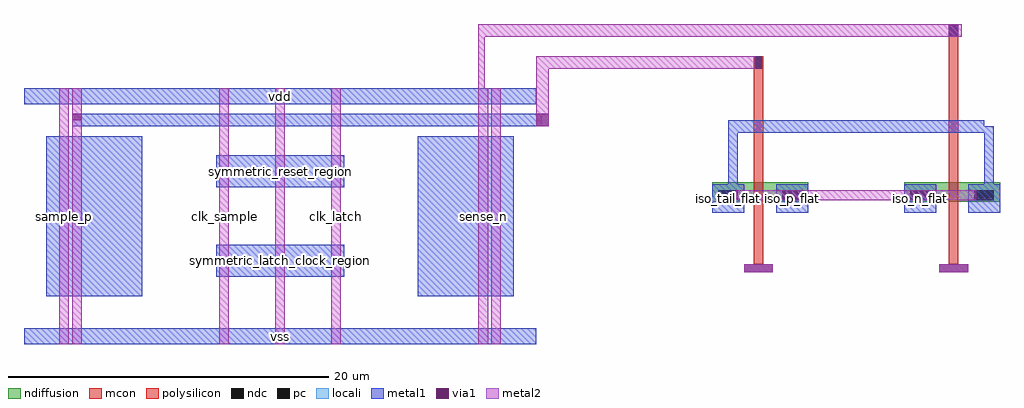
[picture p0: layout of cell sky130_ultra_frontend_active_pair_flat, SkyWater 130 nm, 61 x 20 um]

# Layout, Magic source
magic
tech sky130A
<< ndiffusion >>
rect 4300 890 4900 1010
rect 5500 890 6100 1010
<< polysilicon >>
rect 4560 500 4620 1400
rect 5780 500 5840 1400
rect 4560 900 4620 1800
rect 5780 900 5840 1960
<< ndc >>
rect 4340 900 4460 960
rect 4740 900 4860 960
rect 5540 900 5660 960
rect 5940 900 6060 960
<< mcon >>
rect 4340 900 4460 960
rect 4740 900 4860 960
rect 5540 900 5660 960
rect 5940 900 6060 960
rect 4570 1720 4610 1800
rect 5780 1920 5840 2000
<< locali >>
rect 4570 1720 4610 1800
rect 5780 1920 5840 2000
<< metal1 >>
rect 0 0 3200 100
rect 0 1500 3200 1600
rect 140 300 740 1300
rect 2460 300 3060 1300
rect 1200 980 2000 1180
rect 1200 420 2000 620
rect 4300 820 4500 1000
rect 4700 820 4900 1000
rect 5500 820 5700 1000
rect 5900 820 6100 1000
rect 4400 900 4460 1360
rect 6000 900 6060 1360
rect 4400 1320 6000 1400
rect 300 1400 360 1440
rect 300 1360 3240 1440
rect 4570 1720 4610 1800
rect 5780 1920 5840 2000
<< metal2 >>
rect 220 0 280 1600
rect 300 0 360 1600
rect 1220 0 1280 1600
rect 1570 0 1630 1600
rect 1920 0 1980 1600
rect 2840 0 2900 1600
rect 2920 0 2980 1600
rect 4500 450 4680 500
rect 5720 450 5900 500
rect 4450 900 5950 960
rect 300 1400 360 1440
rect 3200 1360 3280 1720
rect 3200 1720 4570 1800
rect 2840 1400 2880 1960
rect 2840 1920 5780 2000
rect 5780 1920 5860 2000
<< via1 >>
rect 4500 450 4680 500
rect 5720 450 5900 500
rect 300 1400 360 1440
rect 3200 1360 3280 1440
rect 4570 1720 4610 1800
rect 5780 1920 5840 2000
<< pc >>
rect 4570 1720 4610 1800
rect 5780 1920 5840 2000
<< labels >>
rlabel metal1 0 0 3200 100 0 vss
port 1 nsew
rlabel metal1 0 1500 3200 1600 0 vdd
port 2 nsew
rlabel metal2 220 0 280 1600 0 sample_p
port 3 nsew
rlabel metal2 300 0 360 1600 0 sense_p
port 4 nsew
rlabel metal2 1220 0 1280 1600 0 clk_sample
port 5 nsew
rlabel metal2 1570 0 1630 1600 0 vcm_reset
port 6 nsew
rlabel metal2 1920 0 1980 1600 0 clk_latch
port 7 nsew
rlabel metal2 2840 0 2900 1600 0 sense_n
port 8 nsew
rlabel metal2 2920 0 2980 1600 0 sample_n
port 9 nsew
rlabel metal1 140 300 740 1300 0 ultra_sample_p_sense_p_region
rlabel metal1 2460 300 3060 1300 0 ultra_sample_n_sense_n_region
rlabel metal1 1200 980 2000 1180 0 symmetric_reset_region
rlabel metal1 1200 420 2000 620 0 symmetric_latch_clock_region
rlabel metal1 4300 820 4500 1000 0 iso_tail_flat
port 10 nsew
rlabel metal1 4700 820 4900 1000 0 iso_p_flat
port 11 nsew
rlabel metal1 5500 820 5700 1000 0 iso_n_flat
port 12 nsew
<< end >>
